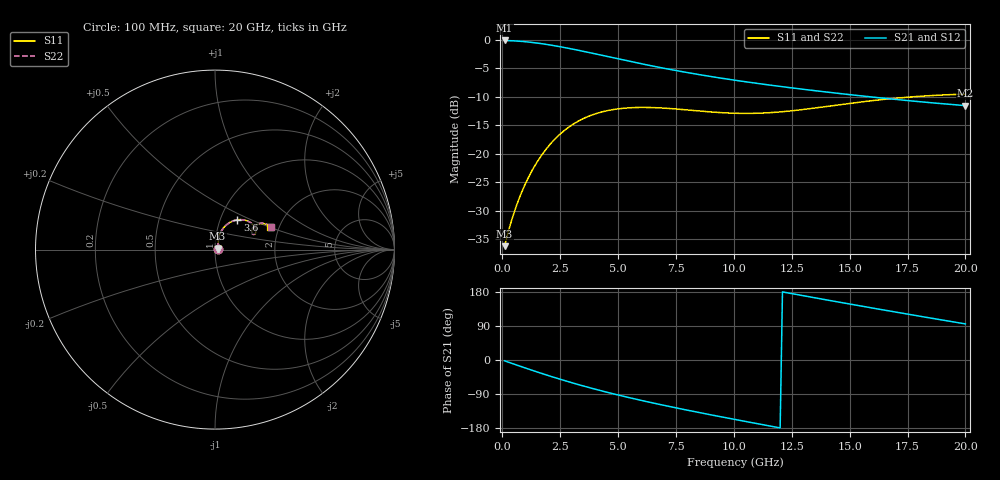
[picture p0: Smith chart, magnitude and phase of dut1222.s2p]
! Touchstone file exported from HFSS 2024.1.0
!  File:  C:/UserFiles/LocalFiles/RDL_TSV_Batchsim/temp_RDL_TSV_1222_1780262449.aedt
!  Generated:  05:36:50 AM Jun  1, 2026
!  Design:  RDL_TSV
!  Project:  temp_RDL_TSV_1222_1780262449
!  Setup:  Setup1
!  Solution:  Sweep
! Variables:
!  dtsv = 6.61um
!  hbump = 3um
!  htsv = 79.1um
!  ldown = 516.29um
!  lrdl = 619.03um
!  p = 40
!  p1 = 54.9um
!  rhole = 10um
!  subl = 4024.99um
!  t = 450um
!  tdown = 4.72um
!  trdl = 4.55um
!  viad = 10um
!  wdown = 19.98um
!  wrdl = 27.62um
!  xbump = 18um
# GHz S MA R 50.000000
! Terminal data exported
! Port[1] = TM1_1_T1
! Port[2] = TM1_4_T1
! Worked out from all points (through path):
!   200 points, 100 MHz to 20 GHz, reference 50 ohm
!   highest |S21| = -0.13 dB at 100 MHz (marker M1); lowest = -11.6 dB at 20 GHz (marker M2)
!   group delay of S21, straight-line fit = 34.9 ps
!   lowest |S11| = -36.2 dB at 100 MHz (marker M3), VSWR 1.03, Z = 51.4 + j0.609 ohm
!   |S11| at or under -10 dB: start of sweep to 17.8 GHz
!   |S22| runs from -36.2 to -9.5 dB; largest |S21 - S12| = 6.3e-15
!   S11 on the Smith chart (normalised r, x): 100 MHz: 1.03, +0.01; 3.6 GHz: 1.21, +0.42; 20 GHz: 1.80, +0.50
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0.1  0.01544 22.5  0.9846 -2.2  0.9846 -2.2  0.01542 22.4
! Gamma 0 0 0 0
! Port Impedance 50 0 50 0
0.4  0.02594 51.8  0.9789 -8.7  0.9789 -8.7  0.02584 51.7
0.7  0.03909 64.4  0.9708 -15.0  0.9708 -15.0  0.03889 64.4
1.1  0.06023 71.3  0.9552 -23.3  0.9552 -23.3  0.0599 71.3
1.5  0.08435 72.6  0.9345 -31.5  0.9345 -31.5  0.08391 72.7
2  0.1167 70.3  0.903 -41.3  0.903 -41.3  0.1161 70.4
2.5  0.1488 65.7  0.8674 -50.8  0.8674 -50.8  0.1481 65.8
3  0.1782 60.1  0.8294 -59.9  0.8294 -59.9  0.1775 60.2
3.5  0.2033 54.2  0.7907 -68.6  0.7907 -68.6  0.2024 54.3
3.6  0.2076 53.0  0.7829 -70.3  0.7829 -70.3  0.2068 53.2
4.3  0.2324 45.2  0.7298 -81.7  0.7298 -81.7  0.2315 45.3
5.2  0.25 36.4  0.666 -95.3  0.666 -95.3  0.249 36.5
6  0.2546 30.2  0.6154 -106.6  0.6154 -106.6  0.2537 30.3
6.8  0.2523 25.6  0.5707 -117.3  0.5707 -117.3  0.2513 25.8
8.3  0.2389 21.4  0.5019 -136.2  0.5019 -136.2  0.2381 21.6
10.1  0.2261 22.9  0.4393 -157.5  0.4393 -157.5  0.2256 23.2
11.7  0.23 27.1  0.3962 -175.8  0.3962 -175.8  0.2299 27.4
13.4  0.2501 30.4  0.359 165.2  0.359 165.2  0.2504 30.7
15  0.2761 30.7  0.3297 147.7  0.3297 147.7  0.2767 31.0
16.7  0.3025 28.7  0.3033 129.5  0.3033 129.5  0.3035 29.0
18.3  0.3214 25.6  0.2825 112.7  0.2825 112.7  0.3226 25.8
20  0.3331 21.9  0.264 95.2  0.264 95.2  0.3345 22.1
